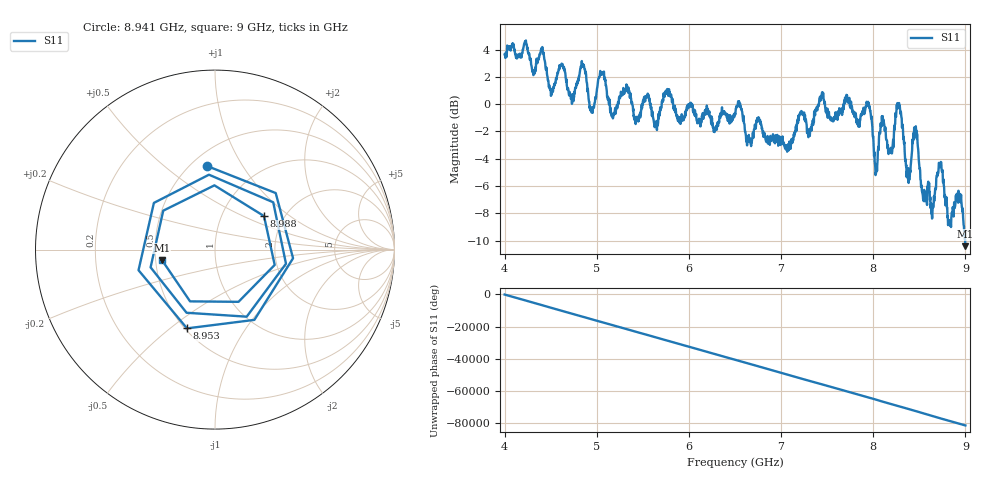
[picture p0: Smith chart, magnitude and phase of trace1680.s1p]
! Created with skrf 1.8.0 (http://scikit-rf.org).
# Hz S RI R 50.0
!freq ReS11 ImS11
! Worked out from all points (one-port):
!   1601 points, 4 GHz to 9 GHz, reference 50 ohm
!   lowest |S11| = -10.4 dB at 9 GHz (marker M1), VSWR 1.86, Z = 27 - j3.4 ohm
!   |S11| at or under -10 dB: 8.997624 GHz to end of sweep
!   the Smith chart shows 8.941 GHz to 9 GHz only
!   S11 on the Smith chart (normalised r, x): 8.941 GHz: 0.60, +0.71; 8.953 GHz: 0.51, -0.57; 8.988 GHz: 1.58, +0.66; 9 GHz: 0.54, -0.07
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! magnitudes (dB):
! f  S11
! 4 GHz  3.6
! 4.403 GHz  4.1
! 4.506 GHz  0.7
! 4.625 GHz  2.9
! 4.728 GHz  0.4
! 4.859 GHz  2.9
! 4.947 GHz  -0.5
! 5.053 GHz  2.2
! 5.169 GHz  -0.8
! 5.25 GHz  0.4
! 5.875 GHz  -1.0
! 6.5 GHz  -0.7
! 7.125 GHz  -2.5
! 7.438 GHz  0.7
! 7.75 GHz  0.0
! 7.95 GHz  0.1
! 8.031 GHz  -5.0
! 8.278 GHz  0.1
! 8.375 GHz  -5.3
! 8.456 GHz  -2.2
! 8.559 GHz  -7.1
! 8.647 GHz  -7.4
! 8.728 GHz  -4.4
! 8.825 GHz  -8.6
! 8.941 GHz  -6.6
! 8.953 GHz  -6.6
! 8.988 GHz  -9.6
! 9 GHz  -10.4
